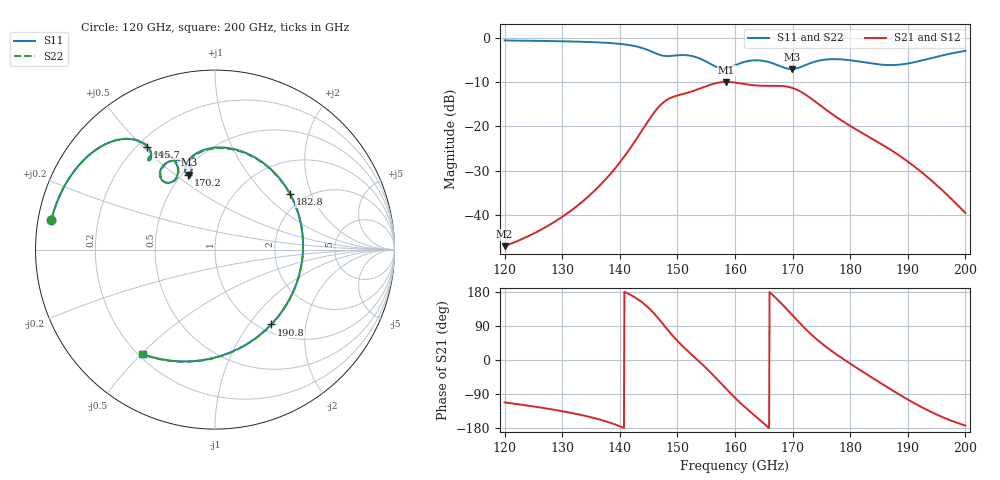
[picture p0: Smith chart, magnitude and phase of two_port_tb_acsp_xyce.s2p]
[Version] 2.0
# Hz S RI R 50
[Number of Ports] 2
[Two-Port Data Order] 12_21
[Reference] 50 50
!  Freq  ReS11  ImS11  ReS12  ImS12  ReS21  ImS21  ReS22  ImS22
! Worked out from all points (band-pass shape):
!   1001 points, 120 GHz to 200 GHz, reference 50 ohm
!   highest |S21| = -10.01 dB at 158.5 GHz (marker M1); lowest = -47.1 dB at 120 GHz (marker M2)
!   |S21| within 3 dB of the highest: 150.2 GHz to 172.4 GHz (22.22 GHz wide, 13.8 % of centre)
!   lowest |S11| = -7.1 dB at 169.8 GHz (marker M3), VSWR 2.58, Z = 27.1 + j28.1 ohm
!   |S11| at or under -10 dB: nowhere
!   |S22| runs from -7.2 to -0.7 dB; largest |S21 - S12| = 1e-10
!   S11 on the Smith chart (normalised r, x): 120 GHz: 0.04, +0.09; 145.7 GHz: 0.24, +0.51; 170.2 GHz: 0.54, +0.56; 182.8 GHz: 1.68, +1.43; 190.8 GHz: 1.13, -1.29; 200 GHz: 0.22, -0.51
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[Number of Frequencies] 22
[Network Data]
1.2e11  -0.9119 0.1654  -0.00166 -0.00412  -0.00166 -0.00412  -0.9117 0.1662
1.2712e11  -0.8583 0.3156  -0.00444 -0.00577  -0.00444 -0.00577  -0.8578 0.3167
1.3336e11  -0.7748 0.4501  -0.0114 -0.00787  -0.0114 -0.00787  -0.7738 0.4513
1.3936e11  -0.635 0.5741  -0.0341 -0.00535  -0.0341 -0.00535  -0.6333 0.5754
1.4568e11  -0.3778 0.5735  -0.0814 0.1076  -0.0814 0.1076  -0.3754 0.5742
1.4672e11  -0.3567 0.5361  -0.0541 0.155  -0.0541 0.155  -0.3543 0.5367
1.4952e11  -0.3725 0.5033  0.1136 0.1851  0.1136 0.1851  -0.37 0.5041
1.5376e11  -0.2598 0.5234  0.263 -0.0169  0.263 -0.0169  -0.2563 0.5237
1.5608e11  -0.2064 0.4434  0.235 -0.1841  0.235 -0.1841  -0.203 0.4429
1.5848e11  -0.2521 0.3729  0.0743 -0.307  0.0743 -0.307  -0.2491 0.3723
1.6e11  -0.295 0.3864  -0.053 -0.306  -0.053 -0.306  -0.2921 0.3861
1.6536e11  -0.2042 0.4988  -0.2826 -0.0394  -0.2826 -0.0394  -0.1992 0.498
1.676e11  -0.14 0.4612  -0.261 0.1158  -0.261 0.1158  -0.1346 0.4589
1.6984e11  -0.1446 0.4172  -0.137 0.2342  -0.137 0.2342  -0.14 0.4136
1.7016e11  -0.1497 0.4167  -0.1132 0.2418  -0.1132 0.2418  -0.1453 0.4131
1.7336e11  -0.1453 0.5011  0.0829 0.1841  0.0829 0.1841  -0.1415 0.498
1.7808e11  0.1279 0.5542  0.1191 0.0208  0.1191 0.0208  0.1339 0.5493
1.828e11  0.4191 0.3088  0.063 -0.0474  0.063 -0.0474  0.4234 0.2985
1.8672e11  0.4859 -0.0553  0.015 -0.0537  0.015 -0.0537  0.4843 -0.0679
1.908e11  0.3133 -0.4168  -0.0132 -0.0341  -0.0132 -0.0341  0.3057 -0.4261
1.9504e11  -0.0243 -0.6071  -0.0175 -0.0127  -0.0175 -0.0127  -0.0332 -0.6104
2e11  -0.401 -0.5828  -0.0104 -0.00127  -0.0104 -0.00127  -0.4071 -0.582
[End]
